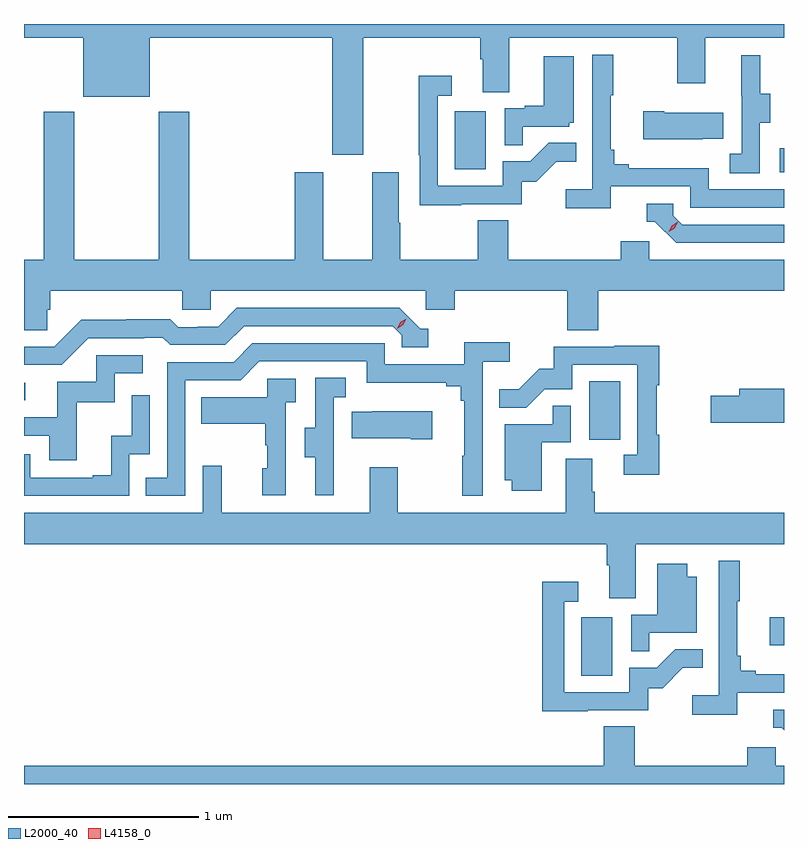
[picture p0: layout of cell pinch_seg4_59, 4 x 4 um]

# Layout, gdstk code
import gdstk
lib = gdstk.Library(unit=1e-6, precision=1e-09)
def R(c, l, rs):  # rectangles x0, y0, x1, y1
    for r in rs: c.add(gdstk.rectangle(r[:2], r[2:], *l))
def P(c, l, *ps):  # polygons
    for p in ps: c.add(gdstk.Polygon(p, *l))
L2000_40 = (2000, 40)
L4158_0 = (4158, 0)

pinch_seg4_59 = lib.new_cell('pinch_seg4_59')
R(pinch_seg4_59, L2000_40, [(1045.994,810.78,1046.158,811.087), (1046.985,810.938,1047.061,811.086), (1046.036,812.022,1046.2,812.329), (1043.061,812.229,1043.068,812.322), (1047.039,813.429,1047.061,813.554), (1045.328,813.444,1045.492,813.751)])
P(pinch_seg4_59, L2000_40, [(1043.061,814.136),(1043.372,814.136),(1043.372,813.827),(1043.722,813.827),(1043.722,814.136),(1044.683,814.136),(1044.683,813.522),(1044.847,813.522),(1044.847,814.136),(1045.463,814.136),(1045.463,814.024),(1045.475,814.024),(1045.475,813.85),(1045.615,813.85),(1045.615,814.136),(1046.5,814.136),(1046.5,813.897),(1046.647,813.897),(1046.647,814.136),(1047.061,814.136),(1047.061,814.209),(1043.061,814.209)],
  [(1046.15,813.354),(1046.568,813.354),(1046.568,813.243),(1047.061,813.243),(1047.061,813.339),(1046.664,813.339),(1046.664,813.451),(1046.245,813.451),(1046.245,813.47),(1046.168,813.47),(1046.168,813.547),(1046.149,813.547),(1046.149,813.835),(1046.161,813.835),(1046.161,814.048),(1046.052,814.048),(1046.052,813.34),(1045.911,813.34),(1045.911,813.238),(1046.15,813.238)],
  [(1046.934,813.688),(1046.989,813.688),(1046.989,813.843),(1046.935,813.843),(1046.935,814.045),(1046.837,814.045),(1046.837,813.831),(1046.838,813.831),(1046.838,813.527),(1046.775,813.527),(1046.775,813.424),(1046.934,813.424)],
  [(1045.685,813.669),(1045.932,813.669),(1045.932,813.69),(1045.954,813.69),(1045.954,814.039),(1045.796,814.039),(1045.796,813.778),(1045.697,813.778),(1045.697,813.765),(1045.59,813.765),(1045.59,813.571),(1045.685,813.571)],
  [(1045.361,813.261),(1045.68,813.261),(1045.68,813.378),(1045.756,813.378),(1045.863,813.485),(1045.967,813.485),(1045.967,813.584),(1045.823,813.584),(1045.725,813.486),(1045.581,813.486),(1045.581,813.357),(1045.239,813.357),(1045.239,813.831),(1045.312,813.831),(1045.312,813.937),(1045.138,813.937),(1045.138,813.517),(1045.143,813.517),(1045.143,813.256),(1045.361,813.256)],
  [(1046.633,813.605),(1046.741,813.605),(1046.741,813.742),(1046.431,813.742),(1046.431,813.75),(1046.319,813.75),(1046.319,813.602),(1046.633,813.602)],
  [(1043.183,812.706),(1043.198,812.706),(1043.198,812.804),(1043.895,812.804),(1043.895,812.706),(1044.045,812.706),(1044.045,812.804),(1045.176,812.804),(1045.176,812.706),(1045.328,812.706),(1045.328,812.804),(1045.919,812.804),(1045.919,812.596),(1046.084,812.596),(1046.084,812.804),(1047.061,812.804),(1047.061,812.968),(1046.352,812.968),(1046.352,813.066),(1046.201,813.066),(1046.201,812.968),(1045.61,812.968),(1045.61,813.176),(1045.45,813.176),(1045.45,812.968),(1045.041,812.968),(1045.041,813.164),(1045.033,813.164),(1045.033,813.43),(1044.893,813.43),(1044.893,812.968),(1044.637,812.968),(1044.637,813.43),(1044.485,813.43),(1044.485,812.968),(1043.93,812.968),(1043.93,813.748),(1043.77,813.748),(1043.77,812.968),(1043.325,812.968),(1043.325,813.748),(1043.165,813.748),(1043.165,812.968),(1043.061,812.968),(1043.061,812.596),(1043.183,812.596)],
  [(1047.061,813.153),(1046.526,813.153),(1046.478,813.201),(1046.478,813.264),(1046.339,813.264),(1046.339,813.168),(1046.382,813.168),(1046.493,813.057),(1047.061,813.057)],
  [(1043.4,812.556),(1043.693,812.556),(1043.693,812.559),(1043.792,812.559),(1043.831,812.52),(1044.12,812.52),(1044.219,812.619),(1045.002,812.619),(1045.05,812.571),(1045.05,812.508),(1045.189,812.508),(1045.189,812.604),(1045.146,812.604),(1045.035,812.715),(1044.182,812.715),(1044.083,812.616),(1043.976,812.616),(1043.976,812.613),(1043.873,812.613),(1043.831,812.656),(1043.598,812.656),(1043.598,812.653),(1043.362,812.653),(1043.22,812.511),(1043.061,812.511),(1043.061,812.415),(1043.259,812.415)],
  [(1043.91,812.334),(1044.201,812.334),(1044.3,812.433),(1044.864,812.433),(1044.864,812.321),(1045.283,812.321),(1045.283,812.302),(1045.36,812.302),(1045.36,812.225),(1045.379,812.225),(1045.379,811.937),(1045.368,811.937),(1045.368,811.725),(1045.476,811.725),(1045.476,812.432),(1045.618,812.432),(1045.618,812.534),(1045.379,812.534),(1045.379,812.418),(1044.96,812.418),(1044.96,812.529),(1044.263,812.529),(1044.164,812.43),(1043.814,812.43),(1043.814,811.821),(1043.701,811.821),(1043.701,811.725),(1043.91,811.725)],
  [(1046.405,812.048),(1046.39,812.048),(1046.39,812.308),(1046.405,812.308),(1046.405,812.516),(1046.167,812.516),(1046.167,812.511),(1045.849,812.511),(1045.849,812.394),(1045.772,812.394),(1045.665,812.287),(1045.561,812.287),(1045.561,812.189),(1045.705,812.189),(1045.802,812.286),(1045.947,812.286),(1045.947,812.415),(1046.289,812.415),(1046.289,811.941),(1046.217,811.941),(1046.217,811.836),(1046.405,811.836)],
  [(1043.339,812.217),(1043.538,812.217),(1043.538,812.37),(1043.686,812.37),(1043.686,812.466),(1043.442,812.466),(1043.442,812.325),(1043.237,812.325),(1043.237,812.139),(1043.061,812.139),(1043.061,812.043),(1043.195,812.043),(1043.195,811.914),(1043.339,811.914)],
  [(1044.692,811.941),(1044.69,811.941),(1044.69,812.245),(1044.754,812.245),(1044.754,812.348),(1044.594,812.348),(1044.594,812.085),(1044.539,812.085),(1044.539,811.93),(1044.593,811.93),(1044.593,811.728),(1044.692,811.728)],
  [(1044.438,812.219),(1044.49,812.219),(1044.49,812.343),(1044.342,812.343),(1044.342,812.245),(1043.995,812.245),(1043.995,812.105),(1044.33,812.105),(1044.33,811.991),(1044.34,811.991),(1044.34,811.872),(1044.314,811.872),(1044.314,811.728),(1044.438,811.728)],
  [(1047.061,812.288),(1046.825,812.288),(1046.825,812.252),(1046.676,812.252),(1046.676,812.11),(1047.061,812.11)],
  [(1043.616,811.944),(1043.724,811.944),(1043.724,812.254),(1043.628,812.254),(1043.628,812.042),(1043.519,812.042),(1043.519,811.834),(1043.423,811.834),(1043.423,811.821),(1043.094,811.821),(1043.094,811.944),(1043.061,811.944),(1043.061,811.725),(1043.616,811.725)],
  [(1045.786,812.007),(1045.938,812.007),(1045.938,812.201),(1045.843,812.201),(1045.843,812.103),(1045.592,812.103),(1045.592,811.808),(1045.628,811.808),(1045.628,811.752),(1045.786,811.752)],
  [(1045.21,812.17),(1044.895,812.17),(1044.895,812.167),(1044.787,812.167),(1044.787,812.03),(1045.097,812.03),(1045.097,812.023),(1045.21,812.023)],
  [(1046.281,811.472),(1047.061,811.472),(1047.061,811.636),(1046.066,811.636),(1046.066,811.748),(1046.053,811.748),(1046.053,811.922),(1045.913,811.922),(1045.913,811.636),(1045.029,811.636),(1045.029,811.876),(1044.881,811.876),(1044.881,811.636),(1044.101,811.636),(1044.101,811.885),(1044.003,811.885),(1044.003,811.636),(1043.061,811.636),(1043.061,811.472),(1046.129,811.472),(1046.129,811.36),(1046.141,811.36),(1046.141,811.186),(1046.281,811.186)],
  [(1046.816,810.69),(1047.061,810.69),(1047.061,810.787),(1046.911,810.787),(1046.911,810.806),(1046.834,810.806),(1046.834,810.883),(1046.815,810.883),(1046.815,811.171),(1046.827,811.171),(1046.827,811.384),(1046.718,811.384),(1046.718,810.676),(1046.577,810.676),(1046.577,810.574),(1046.816,810.574)],
  [(1046.351,811.005),(1046.602,811.005),(1046.602,811.3),(1046.551,811.3),(1046.551,811.369),(1046.393,811.369),(1046.393,811.101),(1046.256,811.101),(1046.256,810.907),(1046.351,810.907)],
  [(1046.027,810.597),(1046.346,810.597),(1046.346,810.714),(1046.422,810.714),(1046.529,810.821),(1046.633,810.821),(1046.633,810.919),(1046.489,810.919),(1046.392,810.822),(1046.247,810.822),(1046.247,810.693),(1045.905,810.693),(1045.905,811.167),(1045.978,811.167),(1045.978,811.273),(1045.789,811.273),(1045.789,810.592),(1046.027,810.592)],
  [(1047.061,810.6),(1047.005,810.6),(1047.005,810.504),(1047.048,810.504),(1047.061,810.491)],
  [(1047.061,810.304),(1047.018,810.304),(1047.018,810.402),(1046.867,810.402),(1046.867,810.304),(1046.276,810.304),(1046.276,810.512),(1046.111,810.512),(1046.111,810.304),(1043.061,810.304),(1043.061,810.209),(1047.061,810.209)])
P(pinch_seg4_59, L4158_0, [(1046.454,813.115),(1046.454,813.116),(1046.47,813.148),(1046.501,813.168),(1046.502,813.168),(1046.502,813.167),(1046.485,813.135),(1046.454,813.115)],
  [(1045.025,812.606),(1045.025,812.606),(1045.041,812.639),(1045.072,812.658),(1045.072,812.658),(1045.072,812.658),(1045.056,812.625),(1045.025,812.606)])

lib.write_gds('pinch_seg4_59.gds')
